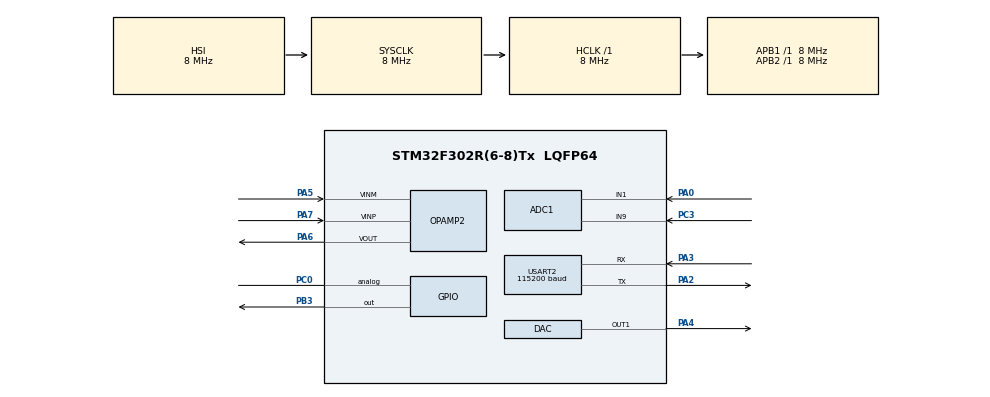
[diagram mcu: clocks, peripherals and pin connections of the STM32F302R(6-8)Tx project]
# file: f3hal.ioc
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ADC1.Channel-1\#ChannelRegularConversion=ADC_CHANNEL_1
ADC1.ContinuousConvMode=ENABLE
ADC1.NbrOfConversionFlag=1
ADC1.Offset-1\#ChannelRegularConversion=0
ADC1.OffsetNumber-1\#ChannelRegularConversion=ADC_OFFSET_NONE
ADC1.Rank-1\#ChannelRegularConversion=1
ADC1.SamplingTime-1\#ChannelRegularConversion=ADC_SAMPLETIME_1CYCLE_5
ADC1.master=1
Mcu.Family=STM32F3
Mcu.Name=STM32F302R(6-8)Tx
Mcu.Package=LQFP64
NVIC.ADC1_IRQn=true\:0\:0\:false\:false\:true\:true\:true
NVIC.PriorityGroup=NVIC_PRIORITYGROUP_4
OPAMP2.PgaGain=OPAMP_PGA_GAIN_16
PA0.Mode=IN1-Single-Ended
PA0.Signal=ADC1_IN1
PA2.Mode=Asynchronous
PA2.Signal=USART2_TX
PA3.Mode=Asynchronous
PA3.Signal=USART2_RX
PA4.Signal=COMP_DAC1_group
PA5.Mode=PGA Connected
PA5.Signal=OPAMP2_VINM
PA6.Mode=PGA Connected
PA6.Signal=OPAMP2_VOUT
PA7.Mode=PGA Connected
PA7.Signal=OPAMP2_VINP
PB3.Signal=GPIO_Output
PC0.Signal=GPIO_Analog
PC3.Signal=ADCx_IN9
ProjectManager.HeapSize=0x200
ProjectManager.StackSize=0x400
ProjectManager.TargetToolchain=Makefile
RCC.AHBFreq_Value=8000000
RCC.APB1Freq_Value=8000000
RCC.APB2Freq_Value=8000000
RCC.CortexFreq_Value=8000000
RCC.HSE_VALUE=8000000
RCC.HSI_VALUE=8000000
RCC.LSE_VALUE=32768
RCC.SYSCLKFreq_VALUE=8000000
SH.ADCx_IN9.0=ADC1_IN9,IN9-Single-Ended
SH.COMP_DAC1_group.0=DAC_OUT1,DAC_OUT1
USART2.BaudRate=115200
USART2.VirtualMode-Asynchronous=VM_ASYNC
USART2.WordLength=WORDLENGTH_8B
board=custom

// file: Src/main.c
/* USER CODE BEGIN Header */
/**
  ******************************************************************************
  * @file           : main.c
  * @brief          : Main program body
  ******************************************************************************
  * @attention
  *
  * <h2><center>&copy; Copyright (c) 2020 STMicroelectronics.
  * All rights reserved.</center></h2>
  *
  * This software component is licensed by ST under BSD 3-Clause license,
  * the "License"; You may not use this file except in compliance with the
  * License. You may obtain a copy of the License at:
  *                        opensource.org/licenses/BSD-3-Clause
  *
  ******************************************************************************
  */
/* USER CODE END Header */

#include "main.h"

/* USER CODE BEGIN Includes */
#include <math.h>
/* USER CODE END Includes */

ADC_HandleTypeDef hadc1;

DAC_HandleTypeDef hdac;

OPAMP_HandleTypeDef hopamp2;

UART_HandleTypeDef huart2;

void SystemClock_Config(void);
static void MX_GPIO_Init(void);
static void MX_ADC1_Init(void);
static void MX_USART2_UART_Init(void);
static void MX_DAC_Init(void);
static void MX_OPAMP2_Init(void);

/* USER CODE BEGIN 0 */
void debugPrintln(UART_HandleTypeDef *huart, char _out[]){
 HAL_UART_Transmit(huart, (uint8_t *) _out, strlen(_out), 10);
 char newline[2] = "\r\n";
 HAL_UART_Transmit(huart, (uint8_t *) newline, 2, 10);
}
/* USER CODE END 0 */

int main(void)
{

  /* MCU Configuration--------------------------------------------------------*/

  /* Reset of all peripherals, Initializes the Flash interface and the Systick. */
  HAL_Init();

  /* Configure the system clock */
  SystemClock_Config();

  /* Initialize all configured peripherals */
  MX_GPIO_Init();
  MX_ADC1_Init();
  MX_USART2_UART_Init();
  MX_DAC_Init();
  MX_OPAMP2_Init();
  /* USER CODE BEGIN 2 */
  debugPrintln(&huart2, "Setting up....");
  HAL_ADC_Start(&hadc1);
  HAL_DAC_Start(&hdac, DAC_CHANNEL_1);
  debugPrintln(&huart2, "Done.");
  /* USER CODE END 2 */

  /* Infinite loop */
  /* USER CODE BEGIN WHILE */
  int trig = 0;
  uint32_t ADCVal;
  while (1)
  {
    /* USER CODE END WHILE */

    /* USER CODE BEGIN 3 */
    trig = trig ? 0 : 1;
    HAL_GPIO_WritePin(GPIOB, GPIO_PIN_3, trig);
    ADCVal = HAL_GPIO_ReadPin(GPIOC, GPIO_PIN_0);
    HAL_DAC_SetValue(&hdac, DAC_CHANNEL_1, DAC_ALIGN_12B_R, ADCVal);

  }
  /* USER CODE END 3 */
}

void SystemClock_Config(void)
{
  RCC_OscInitTypeDef RCC_OscInitStruct = {0};
  RCC_ClkInitTypeDef RCC_ClkInitStruct = {0};
  RCC_PeriphCLKInitTypeDef PeriphClkInit = {0};

  /** Initializes the CPU, AHB and APB busses clocks
  */
  RCC_OscInitStruct.OscillatorType = RCC_OSCILLATORTYPE_HSI;
  RCC_OscInitStruct.HSIState = RCC_HSI_ON;
  RCC_OscInitStruct.HSICalibrationValue = RCC_HSICALIBRATION_DEFAULT;
  RCC_OscInitStruct.PLL.PLLState = RCC_PLL_ON;
  RCC_OscInitStruct.PLL.PLLSource = RCC_PLLSOURCE_HSI;
  RCC_OscInitStruct.PLL.PLLMUL = RCC_PLL_MUL2;
  if (HAL_RCC_OscConfig(&RCC_OscInitStruct) != HAL_OK)
  {
    Error_Handler();
  }
  /** Initializes the CPU, AHB and APB busses clocks
  */
  RCC_ClkInitStruct.ClockType = RCC_CLOCKTYPE_HCLK|RCC_CLOCKTYPE_SYSCLK
                              |RCC_CLOCKTYPE_PCLK1|RCC_CLOCKTYPE_PCLK2;
  RCC_ClkInitStruct.SYSCLKSource = RCC_SYSCLKSOURCE_HSI;
  RCC_ClkInitStruct.AHBCLKDivider = RCC_SYSCLK_DIV1;
  RCC_ClkInitStruct.APB1CLKDivider = RCC_HCLK_DIV1;
  RCC_ClkInitStruct.APB2CLKDivider = RCC_HCLK_DIV1;

  if (HAL_RCC_ClockConfig(&RCC_ClkInitStruct, FLASH_LATENCY_0) != HAL_OK)
  {
    Error_Handler();
  }
  PeriphClkInit.PeriphClockSelection = RCC_PERIPHCLK_ADC1;
  PeriphClkInit.Adc1ClockSelection = RCC_ADC1PLLCLK_DIV1;

  if (HAL_RCCEx_PeriphCLKConfig(&PeriphClkInit) != HAL_OK)
  {
    Error_Handler();
  }
}

static void MX_ADC1_Init(void)
{

  ADC_ChannelConfTypeDef sConfig = {0};

  /** Common config
  */
  hadc1.Instance = ADC1;
  hadc1.Init.ClockPrescaler = ADC_CLOCK_ASYNC_DIV1;
  hadc1.Init.Resolution = ADC_RESOLUTION_12B;
  hadc1.Init.ScanConvMode = ADC_SCAN_DISABLE;
  hadc1.Init.ContinuousConvMode = ENABLE;
  hadc1.Init.DiscontinuousConvMode = DISABLE;
  hadc1.Init.ExternalTrigConvEdge = ADC_EXTERNALTRIGCONVEDGE_NONE;
  hadc1.Init.ExternalTrigConv = ADC_SOFTWARE_START;
  hadc1.Init.DataAlign = ADC_DATAALIGN_RIGHT;
  hadc1.Init.NbrOfConversion = 1;
  hadc1.Init.DMAContinuousRequests = DISABLE;
  hadc1.Init.EOCSelection = ADC_EOC_SINGLE_CONV;
  hadc1.Init.LowPowerAutoWait = DISABLE;
  hadc1.Init.Overrun = ADC_OVR_DATA_OVERWRITTEN;
  if (HAL_ADC_Init(&hadc1) != HAL_OK)
  {
    Error_Handler();
  }
  /** Configure Regular Channel
  */
  sConfig.Channel = ADC_CHANNEL_1;
  sConfig.Rank = ADC_REGULAR_RANK_1;
  sConfig.SingleDiff = ADC_SINGLE_ENDED;
  sConfig.SamplingTime = ADC_SAMPLETIME_1CYCLE_5;
  sConfig.OffsetNumber = ADC_OFFSET_NONE;
  sConfig.Offset = 0;
  if (HAL_ADC_ConfigChannel(&hadc1, &sConfig) != HAL_OK)
  {
    Error_Handler();
  }

}

static void MX_DAC_Init(void)
{

  DAC_ChannelConfTypeDef sConfig = {0};

  /** DAC Initialization
  */
  hdac.Instance = DAC;
  if (HAL_DAC_Init(&hdac) != HAL_OK)
  {
    Error_Handler();
  }
  /** DAC channel OUT1 config
  */
  sConfig.DAC_Trigger = DAC_TRIGGER_NONE;
  sConfig.DAC_OutputBuffer = DAC_OUTPUTBUFFER_ENABLE;
  if (HAL_DAC_ConfigChannel(&hdac, &sConfig, DAC_CHANNEL_1) != HAL_OK)
  {
    Error_Handler();
  }

}

static void MX_OPAMP2_Init(void)
{

  hopamp2.Instance = OPAMP2;
  hopamp2.Init.Mode = OPAMP_PGA_MODE;
  hopamp2.Init.NonInvertingInput = OPAMP_NONINVERTINGINPUT_IO0;
  hopamp2.Init.TimerControlledMuxmode = OPAMP_TIMERCONTROLLEDMUXMODE_DISABLE;
  hopamp2.Init.PgaConnect = OPAMP_PGA_CONNECT_INVERTINGINPUT_IO1;
  hopamp2.Init.PgaGain = OPAMP_PGA_GAIN_16;
  hopamp2.Init.UserTrimming = OPAMP_TRIMMING_FACTORY;
  if (HAL_OPAMP_Init(&hopamp2) != HAL_OK)
  {
    Error_Handler();
  }

}

static void MX_USART2_UART_Init(void)
{

  huart2.Instance = USART2;
  huart2.Init.BaudRate = 115200;
  huart2.Init.WordLength = UART_WORDLENGTH_8B;
  huart2.Init.StopBits = UART_STOPBITS_1;
  huart2.Init.Parity = UART_PARITY_NONE;
  huart2.Init.Mode = UART_MODE_TX_RX;
  huart2.Init.HwFlowCtl = UART_HWCONTROL_NONE;
  huart2.Init.OverSampling = UART_OVERSAMPLING_16;
  huart2.Init.OneBitSampling = UART_ONE_BIT_SAMPLE_DISABLE;
  huart2.AdvancedInit.AdvFeatureInit = UART_ADVFEATURE_NO_INIT;
  if (HAL_UART_Init(&huart2) != HAL_OK)
  {
    Error_Handler();
  }

}

static void MX_GPIO_Init(void)
{
  GPIO_InitTypeDef GPIO_InitStruct = {0};

  /* GPIO Ports Clock Enable */
  __HAL_RCC_GPIOC_CLK_ENABLE();
  __HAL_RCC_GPIOA_CLK_ENABLE();
  __HAL_RCC_GPIOB_CLK_ENABLE();

  /*Configure GPIO pin Output Level */
  HAL_GPIO_WritePin(GPIOB, GPIO_PIN_3, GPIO_PIN_RESET);

  /*Configure GPIO pin : PC0 */
  GPIO_InitStruct.Pin = GPIO_PIN_0;
  GPIO_InitStruct.Mode = GPIO_MODE_ANALOG;
  GPIO_InitStruct.Pull = GPIO_NOPULL;
  HAL_GPIO_Init(GPIOC, &GPIO_InitStruct);

  /*Configure GPIO pin : PB3 */
  GPIO_InitStruct.Pin = GPIO_PIN_3;
  GPIO_InitStruct.Mode = GPIO_MODE_OUTPUT_PP;
  GPIO_InitStruct.Pull = GPIO_NOPULL;
  GPIO_InitStruct.Speed = GPIO_SPEED_FREQ_LOW;
  HAL_GPIO_Init(GPIOB, &GPIO_InitStruct);

}

void Error_Handler(void)
{
}

/************************ (C) COPYRIGHT STMicroelectronics *****END OF FILE****/
